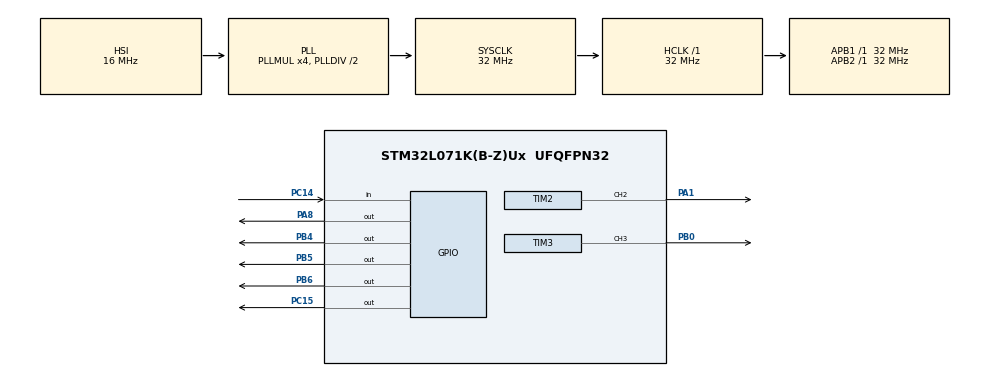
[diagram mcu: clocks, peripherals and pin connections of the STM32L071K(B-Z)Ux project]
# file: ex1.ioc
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Mcu.Family=STM32L0
Mcu.Name=STM32L071K(B-Z)Ux
Mcu.Package=UFQFPN32
NVIC.TIM2_IRQn=true\:0\:0\:false\:false\:true\:true\:true
NVIC.TIM3_IRQn=true\:0\:0\:false\:false\:true\:true\:true
NVIC.TIM6_IRQn=true\:0\:0\:false\:false\:true\:true\:true
PA1.Signal=S_TIM2_CH2
PA13.Mode=Serial_Wire
PA13.Signal=SYS_SWDIO
PA14.Mode=Serial_Wire
PA14.Signal=SYS_SWCLK
PA8.Signal=GPIO_Output
PB0.Signal=S_TIM3_CH3
PB4.Signal=GPIO_Output
PB5.Signal=GPIO_Output
PB6.Signal=GPIO_Output
PC14-OSC32_IN.Signal=GPIO_Input
PC15-OSC32_OUT.Signal=GPIO_Output
ProjectManager.HeapSize=0x200
ProjectManager.StackSize=0x400
ProjectManager.TargetToolchain=MDK-ARM V5
RCC.AHBFreq_Value=32000000
RCC.APB1Freq_Value=32000000
RCC.APB1TimFreq_Value=32000000
RCC.APB2Freq_Value=32000000
RCC.APB2TimFreq_Value=32000000
RCC.HCLKFreq_Value=32000000
RCC.HSI16_VALUE=16000000
RCC.HSI_VALUE=16000000
RCC.LSE_VALUE=32768
RCC.MSI_VALUE=2097000
RCC.PLLMUL=RCC_PLLMUL_4
RCC.SYSCLKFreq_VALUE=32000000
RCC.SYSCLKSource=RCC_SYSCLKSOURCE_PLLCLK
RCC.VCOOutputFreq_Value=64000000
SH.S_TIM2_CH2.0=TIM2_CH2,PWM Generation2 CH2
SH.S_TIM3_CH3.0=TIM3_CH3,PWM Generation3 CH3
TIM2.Channel-PWM\ Generation2\ CH2=TIM_CHANNEL_2
TIM2.Period=999
TIM2.Prescaler=31
TIM2.TIM_MasterOutputTrigger=TIM_TRGO_OC2REF
TIM2.TIM_MasterSlaveMode=TIM_MASTERSLAVEMODE_ENABLE
TIM3.Channel-PWM\ Generation3\ CH3=TIM_CHANNEL_3
TIM6.AutoReloadPreload=TIM_AUTORELOAD_PRELOAD_ENABLE
TIM6.Period=999
TIM6.Prescaler=31
VP_TIM2_VS_ClockSourceINT.Mode=Internal
VP_TIM6_VS_ClockSourceINT.Mode=Enable_Timer
board=custom

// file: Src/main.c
/* USER CODE BEGIN Header */
/**
  ******************************************************************************
  * @file           : main.c
  * @brief          : Main program body
  ******************************************************************************
  * @attention
  *
  * <h2><center>&copy; Copyright (c) 2019 STMicroelectronics.
  * All rights reserved.</center></h2>
  *
  * This software component is licensed by ST under BSD 3-Clause license,
  * the "License"; You may not use this file except in compliance with the
  * License. You may obtain a copy of the License at:
  *                        opensource.org/licenses/BSD-3-Clause
  *
  ******************************************************************************
  */
/* USER CODE END Header */

#include "main.h"
#include "tim.h"
#include "gpio.h"

/* USER CODE BEGIN Includes */
#include "stm32l0xx_hal.h"
/* USER CODE END Includes */

/* USER CODE BEGIN PTD */
unsigned int i=0,time=1;
/* USER CODE END PTD */

void SystemClock_Config(void);

/* USER CODE BEGIN 0 */
void Task_BrdInit(void)
{
    HAL_GPIO_WritePin(GPIOC, GPIO_PIN_15, GPIO_PIN_SET);

    OLED_PowerControl(ENABLE);

    HAL_Delay(200);
    OLED_Init();
    OLED_Clear();

    OLED_ShowString(0, 0, (unsigned char *)"                ", 16);
    OLED_ShowString(0, 2, (unsigned char *)"                ", 16);

}
/* USER CODE END 0 */

int main(void)
{
  /* USER CODE BEGIN 1 */
    char lcdLine_1st_line[16];
    char lcdLine_2st_line[16];
//	int a=0;

  /* USER CODE END 1 */

  /* MCU Configuration--------------------------------------------------------*/

  /* Reset of all peripherals, Initializes the Flash interface and the Systick. */
  HAL_Init();

  /* Configure the system clock */
  SystemClock_Config();

  /* Initialize all configured peripherals */
  MX_GPIO_Init();
  MX_TIM2_Init();
  MX_TIM3_Init();
  MX_TIM6_Init();
  /* USER CODE BEGIN 2 */
    Task_BrdInit();
//		HAL_TIM_PWM_Start(&htim2, TIM_CHANNEL_2);
		HAL_TIM_Base_Start_IT(&htim2);
		HAL_TIM_Base_Start_IT(&htim6);
  /* USER CODE END 2 */

  /* Infinite loop */
    while (1)
    {

    /* USER CODE BEGIN 3 */
//			while(a<99)
//			{
//				__HAL_TIM_SET_COMPARE(&htim2,TIM_CHANNEL_2,a++);//����ռ�ձ�
//				HAL_Delay(10);
//			}
//			while(a)
//			{
//				__HAL_TIM_SET_COMPARE(&htim2,TIM_CHANNEL_2,a--);
//				HAL_Delay(10);
//			}
//			__HAL_TIM_SET_COMPARE(&htim2,TIM_CHANNEL_ALL,600);

			if(time==1)
			{
				sprintf(lcdLine_1st_line, "GXCT IOT");
				sprintf(lcdLine_2st_line, "Hello World");
				OLED_ShowString(0, 0, (unsigned char *)lcdLine_1st_line, 16);
				OLED_ShowString(0, 2, (unsigned char *)lcdLine_2st_line, 16);
			}
			if(time==0)
			{
				sprintf(lcdLine_1st_line, "123456789");
				sprintf(lcdLine_2st_line, "ahsjdfhafjk123");
				OLED_ShowString(0, 0, (unsigned char *)lcdLine_1st_line, 16);
				OLED_ShowString(16, 2, (unsigned char *)lcdLine_2st_line, 16);
			}

    }
  /* USER CODE END 3 */
}
/* USER CODE BEGIN 4 */
void HAL_TIM_PeriodElapsedCallback(TIM_HandleTypeDef *htim)
{
	if(htim->Instance==TIM2)
	{
		i++;

		if(i%1000==0)
		{
			time=!time;
			HAL_GPIO_TogglePin(GPIOC, GPIO_PIN_15);
		}
		if(i==10001)
		{
			i=0;

		}
	}
}
/* USER CODE END 4 */
void SystemClock_Config(void)
{
  RCC_OscInitTypeDef RCC_OscInitStruct = {0};
  RCC_ClkInitTypeDef RCC_ClkInitStruct = {0};

  /** Configure the main internal regulator output voltage
  */
  __HAL_PWR_VOLTAGESCALING_CONFIG(PWR_REGULATOR_VOLTAGE_SCALE1);
  /** Initializes the CPU, AHB and APB busses clocks
  */
  RCC_OscInitStruct.OscillatorType = RCC_OSCILLATORTYPE_HSI;
  RCC_OscInitStruct.HSIState = RCC_HSI_ON;
  RCC_OscInitStruct.HSICalibrationValue = RCC_HSICALIBRATION_DEFAULT;
  RCC_OscInitStruct.PLL.PLLState = RCC_PLL_ON;
  RCC_OscInitStruct.PLL.PLLSource = RCC_PLLSOURCE_HSI;
  RCC_OscInitStruct.PLL.PLLMUL = RCC_PLLMUL_4;
  RCC_OscInitStruct.PLL.PLLDIV = RCC_PLLDIV_2;
  if (HAL_RCC_OscConfig(&RCC_OscInitStruct) != HAL_OK)
  {
    Error_Handler();
  }
  /** Initializes the CPU, AHB and APB busses clocks
  */
  RCC_ClkInitStruct.ClockType = RCC_CLOCKTYPE_HCLK|RCC_CLOCKTYPE_SYSCLK
                              |RCC_CLOCKTYPE_PCLK1|RCC_CLOCKTYPE_PCLK2;
  RCC_ClkInitStruct.SYSCLKSource = RCC_SYSCLKSOURCE_PLLCLK;
  RCC_ClkInitStruct.AHBCLKDivider = RCC_SYSCLK_DIV1;
  RCC_ClkInitStruct.APB1CLKDivider = RCC_HCLK_DIV1;
  RCC_ClkInitStruct.APB2CLKDivider = RCC_HCLK_DIV1;

  if (HAL_RCC_ClockConfig(&RCC_ClkInitStruct, FLASH_LATENCY_1) != HAL_OK)
  {
    Error_Handler();
  }
}

void Error_Handler(void)
{
}

/************************ (C) COPYRIGHT STMicroelectronics *****END OF FILE****/
